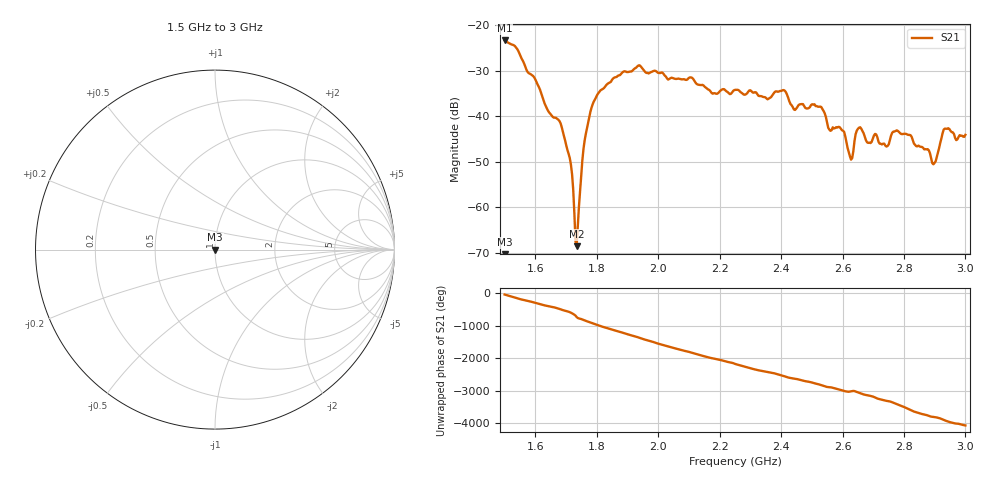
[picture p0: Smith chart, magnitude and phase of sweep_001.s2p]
# HZ S RI R 50
! BoneWave AI live acquisition
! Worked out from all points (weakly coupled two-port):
!   404 points, 1.5 GHz to 3 GHz, reference 50 ohm
!   highest |S21| = -23.33 dB at 1.5 GHz (marker M1); lowest = -68.5 dB at 1.734 GHz (marker M2)
!   lowest |S11| = - dB at 1.5 GHz (marker M3), VSWR 1.00, Z = 50 + j0 ohm
!   |S11| at or under -10 dB: start of sweep to end of sweep
!   S12 and S22 are empty: the file has one direction only
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1.5e9  0 0  0.0552 -0.04  0 0  0 0
1.540943e9  0 0  -0.0478 -0.027  0 0  0 0
1.682382e9  0 0  -0.0058 -0.00601  0 0  0 0
1.712159e9  0 0  -0.00264 0.00225  0 0  0 0
1.734491e9  0 0  0.000368 -6.35e-05  0 0  0 0
1.753102e9  0 0  0.000203 -0.00327  0 0  0 0
1.779156e9  0 0  -0.0112 -0.000353  0 0  0 0
1.808933e9  0 0  0.00288 0.0184  0 0  0 0
1.935484e9  0 0  0.00696 0.0355  0 0  0 0
2.002481e9  0 0  -0.0148 -0.0261  0 0  0 0
2.251861e9  0 0  0.0179 -0.00774  0 0  0 0
2.501241e9  0 0  -0.00759 0.0112  0 0  0 0
2.560794e9  0 0  0.00637 -0.00272  0 0  0 0
2.598015e9  0 0  -0.0025 -0.00657  0 0  0 0
2.627792e9  0 0  -0.0028 -0.00182  0 0  0 0
2.653846e9  0 0  -0.00737 0.00139  0 0  0 0
2.683623e9  0 0  4.46e-06 0.0051  0 0  0 0
2.75062e9  0 0  -7.41e-05 -0.00493  0 0  0 0
2.813896e9  0 0  0.00538 0.00317  0 0  0 0
2.895782e9  0 0  -0.00241 0.00173  0 0  0 0
2.936725e9  0 0  0.00667 0.00297  0 0  0 0
3e9  0 0  -0.00304 -0.00547  0 0  0 0
